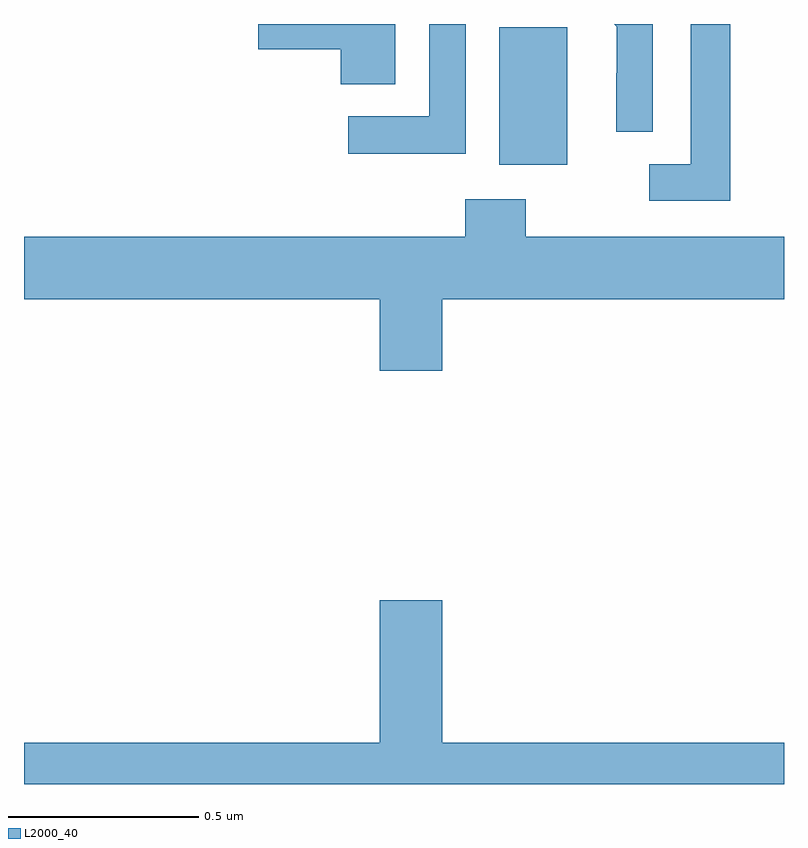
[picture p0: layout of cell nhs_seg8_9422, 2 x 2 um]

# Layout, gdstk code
import gdstk
lib = gdstk.Library(unit=1e-6, precision=1e-09)
def R(c, l, rs):  # rectangles x0, y0, x1, y1
    for r in rs: c.add(gdstk.rectangle(r[:2], r[2:], *l))
def P(c, l, *ps):  # polygons
    for p in ps: c.add(gdstk.Polygon(p, *l))
L2000_40 = (2000, 40)

nhs_seg8_9422 = lib.new_cell('nhs_seg8_9422')
R(nhs_seg8_9422, L2000_40, [(237.251,1107.53,237.43,1107.891)])
P(nhs_seg8_9422, L2000_40, [(237.162,1107.9),(237.066,1107.9),(237.066,1107.657),(236.853,1107.657),(236.853,1107.559),(237.162,1107.559)],
  [(237.654,1107.9),(237.553,1107.9),(237.56,1107.893),(237.56,1107.77),(237.558,1107.77),(237.558,1107.616),(237.654,1107.616)],
  [(237.859,1107.9),(237.755,1107.9),(237.755,1107.531),(237.645,1107.531),(237.645,1107.435),(237.859,1107.435)],
  [(236.977,1107.9),(236.616,1107.9),(236.616,1107.833),(236.834,1107.833),(236.834,1107.742),(236.977,1107.742)],
  [(237.1,1107.176),(238,1107.176),(238,1107.34),(237.321,1107.34),(237.321,1107.439),(237.161,1107.439),(237.161,1107.34),(236,1107.34),(236,1107.176),(236.936,1107.176),(236.936,1106.988),(237.1,1106.988)],
  [(238,1106.008),(237.1,1106.008),(237.1,1106.383),(236.936,1106.383),(236.936,1106.008),(236,1106.008),(236,1105.9),(238,1105.9)])

lib.write_gds('nhs_seg8_9422.gds')
